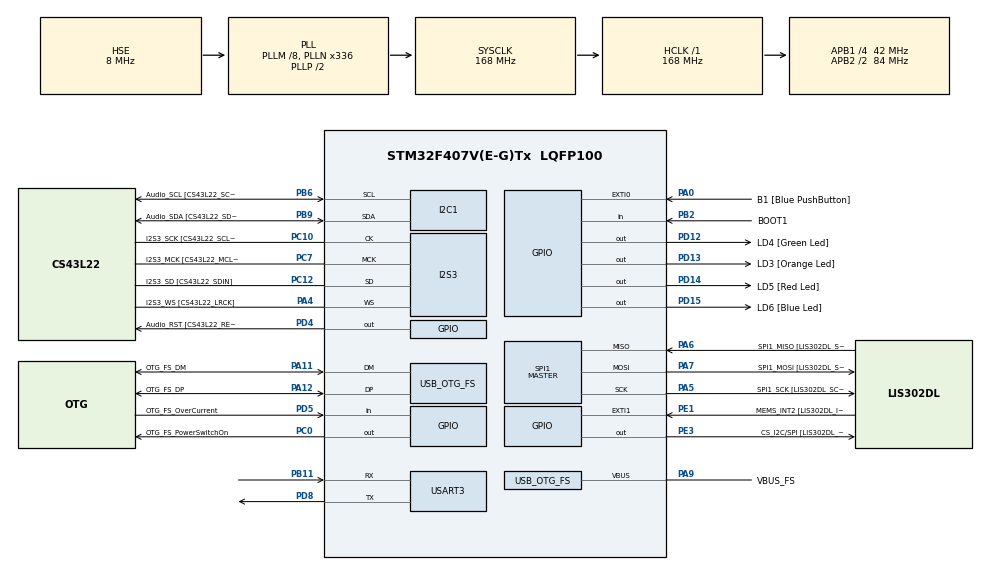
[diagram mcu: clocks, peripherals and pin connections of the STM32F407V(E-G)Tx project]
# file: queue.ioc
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I2S3.AudioFreq-Half_Duplex_Master=I2S_AUDIOFREQ_96K
I2S3.ErrorAudioFreq=-2.34 %
I2S3.ErrorAudioFreq-Half_Duplex_Master=0.8 %
I2S3.FullDuplexMode=I2S_FULLDUPLEXMODE_DISABLE
I2S3.Instance=SPI$Index
I2S3.RealAudioFreq=93.75 KHz
I2S3.RealAudioFreq-Half_Duplex_Master=96.774 KHz
I2S3.VirtualMode=I2S_MODE_MASTER
Mcu.Family=STM32F4
Mcu.Name=STM32F407V(E-G)Tx
Mcu.Package=LQFP100
NVIC.OTG_FS_IRQn=true\:0\:0\:false\:false\:true\:true\:true\:true
NVIC.PriorityGroup=NVIC_PRIORITYGROUP_0
NVIC.USART3_IRQn=true\:0\:0\:false\:false\:true\:true\:true\:true
PA0-WKUP.GPIO_Label=B1 [Blue PushButton]
PA0-WKUP.GPIO_ModeDefaultEXTI=GPIO_MODE_EVT_RISING
PA0-WKUP.GPIO_PuPd=GPIO_NOPULL
PA0-WKUP.Signal=GPXTI0
PA10.GPIO_Label=OTG_FS_ID
PA10.GPIO_Mode=GPIO_MODE_AF_PP
PA10.GPIO_PuPd=GPIO_NOPULL
PA10.GPIO_Speed=GPIO_SPEED_FREQ_LOW
PA10.Signal=USB_OTG_FS_ID
PA11.GPIO_Label=OTG_FS_DM
PA11.GPIO_Mode=GPIO_MODE_AF_PP
PA11.GPIO_PuPd=GPIO_NOPULL
PA11.GPIO_Speed=GPIO_SPEED_FREQ_LOW
PA11.Mode=Host_Only
PA11.Signal=USB_OTG_FS_DM
PA12.GPIO_Label=OTG_FS_DP
PA12.GPIO_Mode=GPIO_MODE_AF_PP
PA12.GPIO_PuPd=GPIO_NOPULL
PA12.GPIO_Speed=GPIO_SPEED_FREQ_LOW
PA12.Mode=Host_Only
PA12.Signal=USB_OTG_FS_DP
PA13.GPIO_Label=SWDIO
PA13.Mode=Serial_Wire
PA13.Signal=SYS_JTMS-SWDIO
PA14.GPIO_Label=SWCLK
PA14.Mode=Serial_Wire
PA14.Signal=SYS_JTCK-SWCLK
PA4.GPIO_Label=I2S3_WS [CS43L22_LRCK]
PA4.GPIO_Mode=GPIO_MODE_AF_PP
PA4.GPIO_PuPd=GPIO_NOPULL
PA4.GPIO_Speed=GPIO_SPEED_FREQ_LOW
PA4.Mode=Half_Duplex_Master
PA4.Signal=I2S3_WS
PA5.GPIO_Label=SPI1_SCK [LIS302DL_SCL/SPC]
PA5.GPIO_Mode=GPIO_MODE_AF_PP
PA5.GPIO_PuPd=GPIO_NOPULL
PA5.GPIO_Speed=GPIO_SPEED_FREQ_LOW
PA5.Mode=Full_Duplex_Master
PA5.Signal=SPI1_SCK
PA6.GPIO_Label=SPI1_MISO [LIS302DL_SDO]
PA6.GPIO_Mode=GPIO_MODE_AF_PP
PA6.GPIO_PuPd=GPIO_NOPULL
PA6.GPIO_Speed=GPIO_SPEED_FREQ_LOW
PA6.Mode=Full_Duplex_Master
PA6.Signal=SPI1_MISO
PA7.GPIO_Label=SPI1_MOSI [LIS302DL_SDA/SDI/SDO]
PA7.GPIO_Mode=GPIO_MODE_AF_PP
PA7.GPIO_PuPd=GPIO_NOPULL
PA7.GPIO_Speed=GPIO_SPEED_FREQ_LOW
PA7.Mode=Full_Duplex_Master
PA7.Signal=SPI1_MOSI
PA9.GPIO_Label=VBUS_FS
PA9.GPIO_Mode=GPIO_MODE_INPUT
PA9.GPIO_PuPd=GPIO_NOPULL
PA9.Mode=Activate_VBUS
PA9.Signal=USB_OTG_FS_VBUS
PB10.GPIO_Label=CLK_IN [MP45DT02_CLK]
PB10.GPIO_Mode=GPIO_MODE_AF_PP
PB10.GPIO_PuPd=GPIO_NOPULL
PB10.GPIO_Speed=GPIO_SPEED_FREQ_LOW
PB10.Signal=I2S2_CK
PB11.Mode=Asynchronous
PB11.Signal=USART3_RX
PB2.GPIO_Label=BOOT1
PB2.GPIO_Mode=GPIO_MODE_INPUT
PB2.GPIO_PuPd=GPIO_NOPULL
PB2.Signal=GPIO_Input
PB3.GPIO_Label=SWO
PB3.Signal=SYS_JTDO-SWO
PB6.GPIO_Label=Audio_SCL [CS43L22_SCL]
PB6.GPIO_Mode=GPIO_MODE_AF_OD
PB6.GPIO_Pu=GPIO_PULLUP
PB6.GPIO_PuPd=GPIO_NOPULL
PB6.GPIO_Speed=GPIO_SPEED_FREQ_LOW
PB6.Mode=I2C
PB6.Signal=I2C1_SCL
PB9.GPIO_Label=Audio_SDA [CS43L22_SDA]
PB9.GPIO_Mode=GPIO_MODE_AF_OD
PB9.GPIO_Pu=GPIO_PULLUP
PB9.GPIO_PuPd=GPIO_NOPULL
PB9.GPIO_Speed=GPIO_SPEED_FREQ_LOW
PB9.Mode=I2C
PB9.Signal=I2C1_SDA
PC0.GPIO_Label=OTG_FS_PowerSwitchOn
PC0.GPIO_PuPd=GPIO_NOPULL
PC0.GPIO_Speed=GPIO_SPEED_FREQ_LOW
PC0.PinState=GPIO_PIN_SET
PC0.Signal=GPIO_Output
PC10.GPIO_Label=I2S3_SCK [CS43L22_SCLK]
PC10.GPIO_Mode=GPIO_MODE_AF_PP
PC10.GPIO_PuPd=GPIO_NOPULL
PC10.GPIO_Speed=GPIO_SPEED_FREQ_LOW
PC10.Mode=Half_Duplex_Master
PC10.Signal=I2S3_CK
PC12.GPIO_Label=I2S3_SD [CS43L22_SDIN]
PC12.GPIO_Mode=GPIO_MODE_AF_PP
PC12.GPIO_PuPd=GPIO_NOPULL
PC12.GPIO_Speed=GPIO_SPEED_FREQ_LOW
PC12.Mode=Half_Duplex_Master
PC12.Signal=I2S3_SD
PC14-OSC32_IN.GPIO_Label=PC14-OSC32_IN
PC14-OSC32_IN.Mode=LSE-External-Oscillator
PC14-OSC32_IN.Signal=RCC_OSC32_IN
PC15-OSC32_OUT.GPIO_Label=PC15-OSC32_OUT
PC15-OSC32_OUT.Mode=LSE-External-Oscillator
PC15-OSC32_OUT.Signal=RCC_OSC32_OUT
PC3.GPIO_Label=PDM_OUT [MP45DT02_DOUT]
PC3.GPIO_Mode=GPIO_MODE_AF_PP
PC3.GPIO_PuPd=GPIO_NOPULL
PC3.GPIO_Speed=GPIO_SPEED_FREQ_LOW
PC3.Signal=I2S2_SD
PC7.GPIO_Label=I2S3_MCK [CS43L22_MCLK]
PC7.GPIO_Mode=GPIO_MODE_AF_PP
PC7.GPIO_PuPd=GPIO_NOPULL
PC7.GPIO_Speed=GPIO_SPEED_FREQ_LOW
PC7.Mode=Master_Clock_Activated
PC7.Signal=I2S3_MCK
PD12.GPIO_Label=LD4 [Green Led]
PD12.GPIO_PuPd=GPIO_NOPULL
PD12.GPIO_Speed=GPIO_SPEED_FREQ_LOW
PD12.Signal=GPIO_Output
PD13.GPIO_Label=LD3 [Orange Led]
PD13.GPIO_PuPd=GPIO_NOPULL
PD13.GPIO_Speed=GPIO_SPEED_FREQ_LOW
PD13.Signal=GPIO_Output
PD14.GPIO_Label=LD5 [Red Led]
PD14.GPIO_PuPd=GPIO_NOPULL
PD14.GPIO_Speed=GPIO_SPEED_FREQ_LOW
PD14.Signal=GPIO_Output
PD15.GPIO_Label=LD6 [Blue Led]
PD15.GPIO_PuPd=GPIO_NOPULL
PD15.GPIO_Speed=GPIO_SPEED_FREQ_LOW
PD15.Signal=GPIO_Output
PD4.GPIO_Label=Audio_RST [CS43L22_RESET]
PD4.GPIO_PuPd=GPIO_NOPULL
PD4.GPIO_Speed=GPIO_SPEED_FREQ_LOW
PD4.Signal=GPIO_Output
PD5.GPIO_Label=OTG_FS_OverCurrent
PD5.GPIO_Mode=GPIO_MODE_INPUT
PD5.GPIO_PuPd=GPIO_NOPULL
PD5.Signal=GPIO_Input
PD8.Mode=Asynchronous
PD8.Signal=USART3_TX
PE1.GPIO_Label=MEMS_INT2 [LIS302DL_INT2]
PE1.GPIO_ModeDefaultEXTI=GPIO_MODE_EVT_RISING
PE1.GPIO_PuPd=GPIO_NOPULL
PE1.Signal=GPXTI1
PE3.GPIO_Label=CS_I2C/SPI [LIS302DL_CS_I2C/SPI]
PE3.GPIO_PuPd=GPIO_NOPULL
PE3.GPIO_Speed=GPIO_SPEED_FREQ_LOW
PE3.Signal=GPIO_Output
PH0-OSC_IN.GPIO_Label=PH0-OSC_IN
PH0-OSC_IN.Mode=HSE-External-Oscillator
PH0-OSC_IN.Signal=RCC_OSC_IN
PH1-OSC_OUT.GPIO_Label=PH1-OSC_OUT
PH1-OSC_OUT.Mode=HSE-External-Oscillator
PH1-OSC_OUT.Signal=RCC_OSC_OUT
ProjectManager.HeapSize=0x200
ProjectManager.StackSize=0x400
ProjectManager.TargetToolchain=STM32CubeIDE
RCC.48MHZClocksFreq_Value=48000000
RCC.AHBFreq_Value=168000000
RCC.APB1CLKDivider=RCC_HCLK_DIV4
RCC.APB1Freq_Value=42000000
RCC.APB1TimFreq_Value=84000000
RCC.APB2CLKDivider=RCC_HCLK_DIV2
RCC.APB2Freq_Value=84000000
RCC.APB2TimFreq_Value=168000000
RCC.CortexFreq_Value=168000000
RCC.HCLKFreq_Value=168000000
RCC.HSE_VALUE=8000000
RCC.HSI_VALUE=16000000
RCC.PLLM=8
RCC.PLLN=336
RCC.PLLQ=7
RCC.SYSCLKFreq_VALUE=168000000
RCC.SYSCLKSource=RCC_SYSCLKSOURCE_PLLCLK
RCC.VCOOutputFreq_Value=336000000
SPI1.BaudRatePrescaler-Full_Duplex_Master=SPI_BAUDRATEPRESCALER_2
SPI1.CalculateBaudRate-Full_Duplex_Master=42.0 MBits/s
SPI1.Direction=SPI_DIRECTION_2LINES
SPI1.Mode=SPI_MODE_MASTER
SPI1.Mode-Full_Duplex_Master=SPI_MODE_MASTER
SPI1.VirtualType=VM_MASTER
USART3.VirtualMode=VM_ASYNC
USB_HOST.BSP.number=1
USB_HOST.USBH_HandleTypeDef-CDC_FS=hUsbHostFS
USB_HOST.VirtualModeFS=Cdc
USB_HOST0.BSP.STBoard=false
USB_HOST0.BSP.api=Unknown
USB_HOST0.BSP.instance=PC0
USB_HOST0.BSP.ip=GPIO
USB_HOST0.BSP.mode=Output
USB_HOST0.BSP.name=Drive_VBUS_FS
USB_HOST0.BSP.solution=PC0
USB_OTG_FS.VirtualMode=Host_Only
USB_OTG_FS.phy_itface=HCD_PHY_EMBEDDED
VP_USB_HOST_VS_USB_HOST_CDC_FS.Mode=CDC_FS
board=STM32F407G-DISC1

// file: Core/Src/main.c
/* USER CODE BEGIN Header */
/**
  ******************************************************************************
  * @file           : main.c
  * @brief          : Main program body
  ******************************************************************************
  * @attention
  *
  * Copyright (c) 2022 STMicroelectronics.
  * All rights reserved.
  *
  * This software is licensed under terms that can be found in the LICENSE file
  * in the root directory of this software component.
  * If no LICENSE file comes with this software, it is provided AS-IS.
  *
  ******************************************************************************
  */
/* USER CODE END Header */
#include "main.h"
#include "usb_host.h"

/* USER CODE BEGIN Includes */
#include <stdio.h>
#include <stdbool.h>
#include <string.h>
/* USER CODE END Includes */

I2C_HandleTypeDef hi2c1;

I2S_HandleTypeDef hi2s3;

SPI_HandleTypeDef hspi1;

UART_HandleTypeDef huart3;

void SystemClock_Config(void);
static void MX_GPIO_Init(void);
static void MX_I2C1_Init(void);
static void MX_I2S3_Init(void);
static void MX_SPI1_Init(void);
static void MX_USART3_UART_Init(void);
void MX_USB_HOST_Process(void);

/* USER CODE BEGIN PFP */

void enqueue(int insert_item);
void dequeue(void);
void show(void);

void print_text(char * text);

#define SIZE 10
int inp_arr[SIZE];
int Rear = -1;
int Front = -1;

// ------------------------------------------------------------------------------------------------
void print_text(char * text)
{
	int buf_size = 0;
	char buff[50] = {0};

	for(buf_size = 0; buf_size <= 100; buf_size++)
	{
		if(text[buf_size] == '\r')
		{
			buf_size++;
			break;
		}
	}

	memset(buff, text, buf_size);
	HAL_UART_Transmit_IT(&huart3, text, buf_size);
	HAL_Delay(10);
}
// ------------------------------------------------------------------------------------------------
void enqueue(int insert_item)
{
	if(Rear == SIZE-1)
	{
		print_text("Overflow \n\r");
	}
	else
	{
		if(Front == -1)			// ????????

		Front = 0;
		char str[50] = {0};
		sprintf(str, "Elemet to be iserted in the Queue : %d\n\r", insert_item);
		print_text(str);

		Rear = Rear + 1;
		inp_arr[Rear] = insert_item;

	}
}
// ------------------------------------------------------------------------------------------------
void dequeue(void)
{
	if((Front == -1) || (Front > Rear))
	{
		print_text("Underflow\n\r");
	}
	else
	{
		print_text("Element deleted from the Queue \n\r");
		Front = Front + 1;
	}
}
// ------------------------------------------------------------------------------------------------
void show(void)
{
	if(Front == -1)
	{
		print_text("Queue is empty \n\r");
	}
	else
	{
		print_text("Queue: \n\r");
		for(int i = Front; i <= Rear; i++)
		{
			char str[7] = {0};
			sprintf(str, "%d\n\r", inp_arr[i]);

			print_text(str);
		}
		print_text("\n\r");
	}
}
// ------------------------------------------------------------------------------------------------

/* USER CODE END PFP */

int main(void)
{

  /* MCU Configuration--------------------------------------------------------*/

  /* Reset of all peripherals, Initializes the Flash interface and the Systick. */
  HAL_Init();

  /* Configure the system clock */
  SystemClock_Config();

  /* Initialize all configured peripherals */
  MX_GPIO_Init();
  MX_I2C1_Init();
  MX_I2S3_Init();
  MX_SPI1_Init();
  MX_USB_HOST_Init();
  MX_USART3_UART_Init();
  /* USER CODE BEGIN 2 */

  print_text("--	QUEUE	--\n\r");

  show();
  dequeue();

  enqueue(1);
  enqueue(2);
  enqueue(3);
  enqueue(7);
  enqueue(7);

  show();

  dequeue();

  show();

  /* USER CODE END 2 */

  /* Infinite loop */
  while (1)
  {
    MX_USB_HOST_Process();

  }
}

void SystemClock_Config(void)
{
  RCC_OscInitTypeDef RCC_OscInitStruct = {0};
  RCC_ClkInitTypeDef RCC_ClkInitStruct = {0};

  /** Configure the main internal regulator output voltage
  */
  __HAL_RCC_PWR_CLK_ENABLE();
  __HAL_PWR_VOLTAGESCALING_CONFIG(PWR_REGULATOR_VOLTAGE_SCALE1);

  /** Initializes the RCC Oscillators according to the specified parameters
  * in the RCC_OscInitTypeDef structure.
  */
  RCC_OscInitStruct.OscillatorType = RCC_OSCILLATORTYPE_HSE;
  RCC_OscInitStruct.HSEState = RCC_HSE_ON;
  RCC_OscInitStruct.PLL.PLLState = RCC_PLL_ON;
  RCC_OscInitStruct.PLL.PLLSource = RCC_PLLSOURCE_HSE;
  RCC_OscInitStruct.PLL.PLLM = 8;
  RCC_OscInitStruct.PLL.PLLN = 336;
  RCC_OscInitStruct.PLL.PLLP = RCC_PLLP_DIV2;
  RCC_OscInitStruct.PLL.PLLQ = 7;
  if (HAL_RCC_OscConfig(&RCC_OscInitStruct) != HAL_OK)
  {
    Error_Handler();
  }

  /** Initializes the CPU, AHB and APB buses clocks
  */
  RCC_ClkInitStruct.ClockType = RCC_CLOCKTYPE_HCLK|RCC_CLOCKTYPE_SYSCLK
                              |RCC_CLOCKTYPE_PCLK1|RCC_CLOCKTYPE_PCLK2;
  RCC_ClkInitStruct.SYSCLKSource = RCC_SYSCLKSOURCE_PLLCLK;
  RCC_ClkInitStruct.AHBCLKDivider = RCC_SYSCLK_DIV1;
  RCC_ClkInitStruct.APB1CLKDivider = RCC_HCLK_DIV4;
  RCC_ClkInitStruct.APB2CLKDivider = RCC_HCLK_DIV2;

  if (HAL_RCC_ClockConfig(&RCC_ClkInitStruct, FLASH_LATENCY_5) != HAL_OK)
  {
    Error_Handler();
  }
}

static void MX_I2C1_Init(void)
{

  hi2c1.Instance = I2C1;
  hi2c1.Init.ClockSpeed = 100000;
  hi2c1.Init.DutyCycle = I2C_DUTYCYCLE_2;
  hi2c1.Init.OwnAddress1 = 0;
  hi2c1.Init.AddressingMode = I2C_ADDRESSINGMODE_7BIT;
  hi2c1.Init.DualAddressMode = I2C_DUALADDRESS_DISABLE;
  hi2c1.Init.OwnAddress2 = 0;
  hi2c1.Init.GeneralCallMode = I2C_GENERALCALL_DISABLE;
  hi2c1.Init.NoStretchMode = I2C_NOSTRETCH_DISABLE;
  if (HAL_I2C_Init(&hi2c1) != HAL_OK)
  {
    Error_Handler();
  }

}

static void MX_I2S3_Init(void)
{

  hi2s3.Instance = SPI3;
  hi2s3.Init.Mode = I2S_MODE_MASTER_TX;
  hi2s3.Init.Standard = I2S_STANDARD_PHILIPS;
  hi2s3.Init.DataFormat = I2S_DATAFORMAT_16B;
  hi2s3.Init.MCLKOutput = I2S_MCLKOUTPUT_ENABLE;
  hi2s3.Init.AudioFreq = I2S_AUDIOFREQ_96K;
  hi2s3.Init.CPOL = I2S_CPOL_LOW;
  hi2s3.Init.ClockSource = I2S_CLOCK_PLL;
  hi2s3.Init.FullDuplexMode = I2S_FULLDUPLEXMODE_DISABLE;
  if (HAL_I2S_Init(&hi2s3) != HAL_OK)
  {
    Error_Handler();
  }

}

static void MX_SPI1_Init(void)
{

  /* SPI1 parameter configuration*/
  hspi1.Instance = SPI1;
  hspi1.Init.Mode = SPI_MODE_MASTER;
  hspi1.Init.Direction = SPI_DIRECTION_2LINES;
  hspi1.Init.DataSize = SPI_DATASIZE_8BIT;
  hspi1.Init.CLKPolarity = SPI_POLARITY_LOW;
  hspi1.Init.CLKPhase = SPI_PHASE_1EDGE;
  hspi1.Init.NSS = SPI_NSS_SOFT;
  hspi1.Init.BaudRatePrescaler = SPI_BAUDRATEPRESCALER_2;
  hspi1.Init.FirstBit = SPI_FIRSTBIT_MSB;
  hspi1.Init.TIMode = SPI_TIMODE_DISABLE;
  hspi1.Init.CRCCalculation = SPI_CRCCALCULATION_DISABLE;
  hspi1.Init.CRCPolynomial = 10;
  if (HAL_SPI_Init(&hspi1) != HAL_OK)
  {
    Error_Handler();
  }

}

static void MX_USART3_UART_Init(void)
{

  huart3.Instance = USART3;
  huart3.Init.BaudRate = 115200;
  huart3.Init.WordLength = UART_WORDLENGTH_8B;
  huart3.Init.StopBits = UART_STOPBITS_1;
  huart3.Init.Parity = UART_PARITY_NONE;
  huart3.Init.Mode = UART_MODE_TX_RX;
  huart3.Init.HwFlowCtl = UART_HWCONTROL_NONE;
  huart3.Init.OverSampling = UART_OVERSAMPLING_16;
  if (HAL_UART_Init(&huart3) != HAL_OK)
  {
    Error_Handler();
  }

}

static void MX_GPIO_Init(void)
{
  GPIO_InitTypeDef GPIO_InitStruct = {0};

  /* GPIO Ports Clock Enable */
  __HAL_RCC_GPIOE_CLK_ENABLE();
  __HAL_RCC_GPIOC_CLK_ENABLE();
  __HAL_RCC_GPIOH_CLK_ENABLE();
  __HAL_RCC_GPIOA_CLK_ENABLE();
  __HAL_RCC_GPIOB_CLK_ENABLE();
  __HAL_RCC_GPIOD_CLK_ENABLE();

  /*Configure GPIO pin Output Level */
  HAL_GPIO_WritePin(CS_I2C_SPI_GPIO_Port, CS_I2C_SPI_Pin, GPIO_PIN_RESET);

  /*Configure GPIO pin Output Level */
  HAL_GPIO_WritePin(OTG_FS_PowerSwitchOn_GPIO_Port, OTG_FS_PowerSwitchOn_Pin, GPIO_PIN_SET);

  /*Configure GPIO pin Output Level */
  HAL_GPIO_WritePin(GPIOD, LD4_Pin|LD3_Pin|LD5_Pin|LD6_Pin
                          |Audio_RST_Pin, GPIO_PIN_RESET);

  /*Configure GPIO pin : CS_I2C_SPI_Pin */
  GPIO_InitStruct.Pin = CS_I2C_SPI_Pin;
  GPIO_InitStruct.Mode = GPIO_MODE_OUTPUT_PP;
  GPIO_InitStruct.Pull = GPIO_NOPULL;
  GPIO_InitStruct.Speed = GPIO_SPEED_FREQ_LOW;
  HAL_GPIO_Init(CS_I2C_SPI_GPIO_Port, &GPIO_InitStruct);

  /*Configure GPIO pin : OTG_FS_PowerSwitchOn_Pin */
  GPIO_InitStruct.Pin = OTG_FS_PowerSwitchOn_Pin;
  GPIO_InitStruct.Mode = GPIO_MODE_OUTPUT_PP;
  GPIO_InitStruct.Pull = GPIO_NOPULL;
  GPIO_InitStruct.Speed = GPIO_SPEED_FREQ_LOW;
  HAL_GPIO_Init(OTG_FS_PowerSwitchOn_GPIO_Port, &GPIO_InitStruct);

  /*Configure GPIO pin : PDM_OUT_Pin */
  GPIO_InitStruct.Pin = PDM_OUT_Pin;
  GPIO_InitStruct.Mode = GPIO_MODE_AF_PP;
  GPIO_InitStruct.Pull = GPIO_NOPULL;
  GPIO_InitStruct.Speed = GPIO_SPEED_FREQ_LOW;
  GPIO_InitStruct.Alternate = GPIO_AF5_SPI2;
  HAL_GPIO_Init(PDM_OUT_GPIO_Port, &GPIO_InitStruct);

  /*Configure GPIO pin : B1_Pin */
  GPIO_InitStruct.Pin = B1_Pin;
  GPIO_InitStruct.Mode = GPIO_MODE_EVT_RISING;
  GPIO_InitStruct.Pull = GPIO_NOPULL;
  HAL_GPIO_Init(B1_GPIO_Port, &GPIO_InitStruct);

  /*Configure GPIO pin : BOOT1_Pin */
  GPIO_InitStruct.Pin = BOOT1_Pin;
  GPIO_InitStruct.Mode = GPIO_MODE_INPUT;
  GPIO_InitStruct.Pull = GPIO_NOPULL;
  HAL_GPIO_Init(BOOT1_GPIO_Port, &GPIO_InitStruct);

  /*Configure GPIO pin : CLK_IN_Pin */
  GPIO_InitStruct.Pin = CLK_IN_Pin;
  GPIO_InitStruct.Mode = GPIO_MODE_AF_PP;
  GPIO_InitStruct.Pull = GPIO_NOPULL;
  GPIO_InitStruct.Speed = GPIO_SPEED_FREQ_LOW;
  GPIO_InitStruct.Alternate = GPIO_AF5_SPI2;
  HAL_GPIO_Init(CLK_IN_GPIO_Port, &GPIO_InitStruct);

  /*Configure GPIO pins : LD4_Pin LD3_Pin LD5_Pin LD6_Pin
                           Audio_RST_Pin */
  GPIO_InitStruct.Pin = LD4_Pin|LD3_Pin|LD5_Pin|LD6_Pin
                          |Audio_RST_Pin;
  GPIO_InitStruct.Mode = GPIO_MODE_OUTPUT_PP;
  GPIO_InitStruct.Pull = GPIO_NOPULL;
  GPIO_InitStruct.Speed = GPIO_SPEED_FREQ_LOW;
  HAL_GPIO_Init(GPIOD, &GPIO_InitStruct);

  /*Configure GPIO pin : OTG_FS_OverCurrent_Pin */
  GPIO_InitStruct.Pin = OTG_FS_OverCurrent_Pin;
  GPIO_InitStruct.Mode = GPIO_MODE_INPUT;
  GPIO_InitStruct.Pull = GPIO_NOPULL;
  HAL_GPIO_Init(OTG_FS_OverCurrent_GPIO_Port, &GPIO_InitStruct);

  /*Configure GPIO pin : MEMS_INT2_Pin */
  GPIO_InitStruct.Pin = MEMS_INT2_Pin;
  GPIO_InitStruct.Mode = GPIO_MODE_EVT_RISING;
  GPIO_InitStruct.Pull = GPIO_NOPULL;
  HAL_GPIO_Init(MEMS_INT2_GPIO_Port, &GPIO_InitStruct);

}

void Error_Handler(void)
{
  __disable_irq();
  while (1)
  {
  }
}
